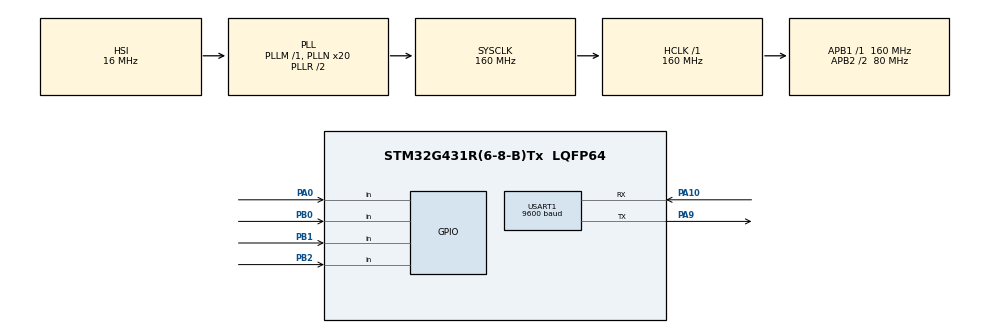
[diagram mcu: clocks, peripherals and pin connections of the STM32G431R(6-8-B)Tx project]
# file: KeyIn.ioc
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Dma.Request0=USART1_TX
Dma.USART1_TX.0.Direction=DMA_MEMORY_TO_PERIPH
Dma.USART1_TX.0.EventEnable=DISABLE
Dma.USART1_TX.0.Instance=DMA1_Channel1
Dma.USART1_TX.0.MemDataAlignment=DMA_MDATAALIGN_BYTE
Dma.USART1_TX.0.MemInc=DMA_MINC_ENABLE
Dma.USART1_TX.0.Mode=DMA_NORMAL
Dma.USART1_TX.0.PeriphDataAlignment=DMA_PDATAALIGN_BYTE
Dma.USART1_TX.0.PeriphInc=DMA_PINC_DISABLE
Dma.USART1_TX.0.Polarity=HAL_DMAMUX_REQ_GEN_RISING
Dma.USART1_TX.0.Priority=DMA_PRIORITY_LOW
Dma.USART1_TX.0.RequestNumber=1
Dma.USART1_TX.0.SignalID=NONE
Dma.USART1_TX.0.SyncEnable=DISABLE
Dma.USART1_TX.0.SyncPolarity=HAL_DMAMUX_SYNC_NO_EVENT
Dma.USART1_TX.0.SyncRequestNumber=1
Dma.USART1_TX.0.SyncSignalID=NONE
Mcu.Family=STM32G4
Mcu.Name=STM32G431R(6-8-B)Tx
Mcu.Package=LQFP64
NVIC.DMA1_Channel1_IRQn=true\:0\:0\:false\:false\:true\:false\:true\:true
NVIC.PriorityGroup=NVIC_PRIORITYGROUP_4
NVIC.TIM6_DAC_IRQn=true\:0\:0\:false\:false\:true\:true\:true\:true
PA0.Signal=GPIO_Input
PA10.Mode=Asynchronous
PA10.Signal=USART1_RX
PA13.Mode=Serial_Wire
PA13.Signal=SYS_JTMS-SWDIO
PA14.Mode=Serial_Wire
PA14.Signal=SYS_JTCK-SWCLK
PA9.Mode=Asynchronous
PA9.Signal=USART1_TX
PB0.Signal=GPIO_Input
PB1.Signal=GPIO_Input
PB2.Signal=GPIO_Input
PF0-OSC_IN.Mode=HSE-External-Clock-Source
PF0-OSC_IN.Signal=RCC_OSC_IN
ProjectManager.HeapSize=0x200
ProjectManager.StackSize=0x400
ProjectManager.TargetToolchain=MDK-ARM V5
RCC.ADC12Freq_Value=160000000
RCC.AHBFreq_Value=160000000
RCC.APB1Freq_Value=160000000
RCC.APB1TimFreq_Value=160000000
RCC.APB2CLKDivider=RCC_HCLK_DIV2
RCC.APB2Freq_Value=80000000
RCC.APB2TimFreq_Value=160000000
RCC.CortexFreq_Value=160000000
RCC.EXTERNAL_CLOCK_VALUE=12288000
RCC.HCLKFreq_Value=160000000
RCC.HSE_VALUE=8000000
RCC.HSI48_VALUE=48000000
RCC.HSI_VALUE=16000000
RCC.LSE_VALUE=32768
RCC.PLLN=20
RCC.SYSCLKFreq_VALUE=160000000
RCC.SYSCLKSource=RCC_SYSCLKSOURCE_PLLCLK
RCC.USBFreq_Value=160000000
RCC.VCOOutputFreq_Value=320000000
TIM6.AutoReloadPreload=TIM_AUTORELOAD_PRELOAD_ENABLE
TIM6.PeriodNoDither=999
TIM6.Prescaler=1599
USART1.BaudRate=9600
USART1.VirtualMode-Asynchronous=VM_ASYNC
VP_SYS_VS_DBSignals.Mode=DisableDeadBatterySignals
VP_TIM6_VS_ClockSourceINT.Mode=Enable_Timer
board=custom

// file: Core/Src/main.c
/* USER CODE BEGIN Header */
/**
  ******************************************************************************
  * @file           : main.c
  * @brief          : Main program body
  ******************************************************************************
  * @attention
  *
  * Copyright (c) 2023 STMicroelectronics.
  * All rights reserved.
  *
  * This software is licensed under terms that can be found in the LICENSE file
  * in the root directory of this software component.
  * If no LICENSE file comes with this software, it is provided AS-IS.
  *
  ******************************************************************************
  */
/* USER CODE END Header */
#include "main.h"
#include "dma.h"
#include "tim.h"
#include "usart.h"
#include "gpio.h"

/* USER CODE BEGIN Includes */
#include <stdbool.h>
#include <stdio.h>
/* USER CODE END Includes */

/* USER CODE BEGIN PV */
uint64_t b1 = 0;
uint64_t b2 = 0; // cap: 0.64s
bool b1a = true;
bool b2a = true;
/* USER CODE END PV */

void SystemClock_Config(void);

/* USER CODE BEGIN 0 */
int fputc(int ch, FILE *f) {
	HAL_UART_Transmit(&huart1, (const uint8_t *)&ch, 1, 0xFFFF);
	return ch;
}

void HAL_TIM_PeriodElapsedCallback(TIM_HandleTypeDef *htim) {
	if(htim->Instance == TIM6) { // 100Hz
		b1 = b1 << 1 | HAL_GPIO_ReadPin(GPIOB, GPIO_PIN_0);
		b2 = b2 << 1 | HAL_GPIO_ReadPin(GPIOB, GPIO_PIN_1);

		if(b1a && !(b1 & 0x00000000000000FF)) { // short click implement
			b1a = false;
			printf("B1 click\n");
		}
		else b1a = b1 & 0x00000000000000FF;

		if(!(b2 & 0x0FFFFFFFFFFFFFF) || (b2a && !(b2 & 0x00000000000000FF))) { // long/short click
			b2a = false;
			printf("B2 triggered\n");
		}
		else b2a = b2 & 0x000000000000FF;
		//printf("0x%16llX\n", b1);
	}
}
/* USER CODE END 0 */

int main(void)
{

  /* MCU Configuration--------------------------------------------------------*/

  /* Reset of all peripherals, Initializes the Flash interface and the Systick. */
  HAL_Init();

  /* Configure the system clock */
  SystemClock_Config();

  /* Initialize all configured peripherals */
  MX_GPIO_Init();
  MX_DMA_Init();
  MX_USART1_UART_Init();
  MX_TIM6_Init();
  /* USER CODE BEGIN 2 */

	//HAL_UART_Transmit(&huart1, (uint8_t *)"Init cplt...", 12, 0xFFFF);
	HAL_TIM_Base_Start_IT(&htim6);
	printf("Init cplt\n");

  /* USER CODE END 2 */

  /* Infinite loop */
  while (1)
  {

  }
}

void SystemClock_Config(void)
{
  RCC_OscInitTypeDef RCC_OscInitStruct = {0};
  RCC_ClkInitTypeDef RCC_ClkInitStruct = {0};

  /** Configure the main internal regulator output voltage
  */
  HAL_PWREx_ControlVoltageScaling(PWR_REGULATOR_VOLTAGE_SCALE1_BOOST);

  /** Initializes the RCC Oscillators according to the specified parameters
  * in the RCC_OscInitTypeDef structure.
  */
  RCC_OscInitStruct.OscillatorType = RCC_OSCILLATORTYPE_HSI;
  RCC_OscInitStruct.HSIState = RCC_HSI_ON;
  RCC_OscInitStruct.HSICalibrationValue = RCC_HSICALIBRATION_DEFAULT;
  RCC_OscInitStruct.PLL.PLLState = RCC_PLL_ON;
  RCC_OscInitStruct.PLL.PLLSource = RCC_PLLSOURCE_HSI;
  RCC_OscInitStruct.PLL.PLLM = RCC_PLLM_DIV1;
  RCC_OscInitStruct.PLL.PLLN = 20;
  RCC_OscInitStruct.PLL.PLLP = RCC_PLLP_DIV2;
  RCC_OscInitStruct.PLL.PLLQ = RCC_PLLQ_DIV2;
  RCC_OscInitStruct.PLL.PLLR = RCC_PLLR_DIV2;
  if (HAL_RCC_OscConfig(&RCC_OscInitStruct) != HAL_OK)
  {
    Error_Handler();
  }

  /** Initializes the CPU, AHB and APB buses clocks
  */
  RCC_ClkInitStruct.ClockType = RCC_CLOCKTYPE_HCLK|RCC_CLOCKTYPE_SYSCLK
                              |RCC_CLOCKTYPE_PCLK1|RCC_CLOCKTYPE_PCLK2;
  RCC_ClkInitStruct.SYSCLKSource = RCC_SYSCLKSOURCE_PLLCLK;
  RCC_ClkInitStruct.AHBCLKDivider = RCC_SYSCLK_DIV1;
  RCC_ClkInitStruct.APB1CLKDivider = RCC_HCLK_DIV1;
  RCC_ClkInitStruct.APB2CLKDivider = RCC_HCLK_DIV2;

  if (HAL_RCC_ClockConfig(&RCC_ClkInitStruct, FLASH_LATENCY_4) != HAL_OK)
  {
    Error_Handler();
  }
}

void Error_Handler(void)
{
  __disable_irq();
  while (1)
  {
  }
}
